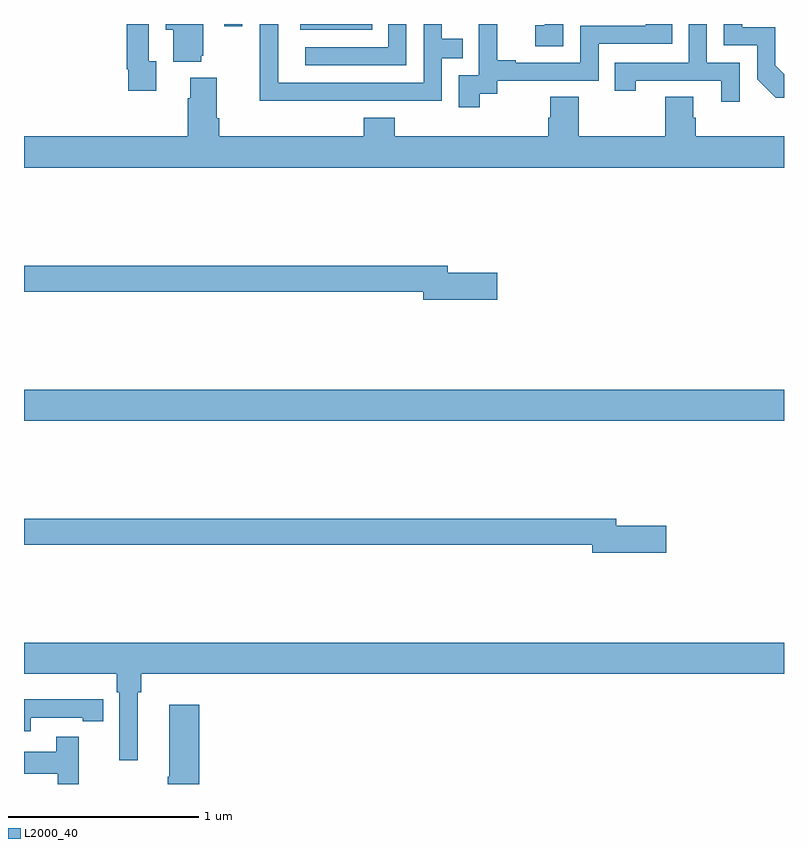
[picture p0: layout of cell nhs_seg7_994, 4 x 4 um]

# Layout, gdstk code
import gdstk
lib = gdstk.Library(unit=1e-6, precision=1e-09)
def R(c, l, rs):  # rectangles x0, y0, x1, y1
    for r in rs: c.add(gdstk.rectangle(r[:2], r[2:], *l))
def P(c, l, *ps):  # polygons
    for p in ps: c.add(gdstk.Polygon(p, *l))
L2000_40 = (2000, 40)

nhs_seg7_994 = lib.new_cell('nhs_seg7_994')
R(nhs_seg7_994, L2000_40, [(183,1037.912,187,1038.076), (184.454,1039.97,184.832,1040), (184.053,1039.989,184.149,1040)])
P(nhs_seg7_994, L2000_40, [(183.932,1039.833),(183.943,1039.833),(183.943,1040),(183.746,1040),(183.746,1039.97),(183.785,1039.97),(183.785,1039.802),(183.932,1039.802)],
  [(187,1039.736),(186.954,1039.782),(186.954,1039.983),(186.781,1039.983),(186.781,1040),(186.684,1040),(186.684,1039.887),(186.858,1039.887),(186.858,1039.71),(186.956,1039.613),(187,1039.613)],
  [(184.703,1039.596),(185.199,1039.596),(185.199,1039.821),(185.309,1039.821),(185.309,1039.922),(185.199,1039.922),(185.199,1040),(185.103,1040),(185.103,1039.692),(184.338,1039.692),(184.338,1040),(184.242,1040),(184.242,1039.901),(184.24,1039.901),(184.24,1039.595),(184.703,1039.595)],
  [(185.013,1040),(184.917,1040),(184.917,1039.878),(184.479,1039.878),(184.479,1039.782),(185.013,1039.782)],
  [(183.697,1039.805),(183.657,1039.805),(183.657,1040),(183.541,1040),(183.541,1039.762),(183.549,1039.762),(183.549,1039.65),(183.697,1039.65)],
  [(185.398,1039.632),(185.49,1039.632),(185.49,1039.701),(186.024,1039.701),(186.024,1039.896),(186.413,1039.896),(186.413,1040),(186.273,1040),(186.273,1039.992),(185.928,1039.992),(185.928,1039.797),(185.587,1039.797),(185.587,1039.81),(185.492,1039.81),(185.492,1040),(185.393,1040),(185.393,1039.961),(185.394,1039.961),(185.394,1039.731),(185.289,1039.731),(185.289,1039.563),(185.398,1039.563)],
  [(185.838,1040),(185.74,1040),(185.74,1039.993),(185.691,1039.993),(185.691,1039.884),(185.838,1039.884)],
  [(186.768,1039.797),(186.594,1039.797),(186.594,1040),(186.498,1040),(186.498,1039.797),(186.109,1039.797),(186.109,1039.65),(186.22,1039.65),(186.22,1039.701),(186.671,1039.701),(186.671,1039.59),(186.768,1039.59)],
  [(187,1039.408),(186.536,1039.408),(186.536,1039.506),(186.523,1039.506),(186.523,1039.616),(186.376,1039.616),(186.376,1039.408),(185.919,1039.408),(185.919,1039.616),(185.771,1039.616),(185.771,1039.506),(185.759,1039.506),(185.759,1039.408),(184.952,1039.408),(184.952,1039.507),(184.787,1039.507),(184.787,1039.408),(184.028,1039.408),(184.028,1039.504),(184.015,1039.504),(184.015,1039.717),(183.875,1039.717),(183.875,1039.61),(183.863,1039.61),(183.863,1039.408),(183,1039.408),(183,1039.244),(187,1039.244)],
  [(185.491,1038.692),(185.23,1038.692),(185.23,1038.728),(183,1038.728),(183,1038.592),(185.102,1038.592),(185.102,1038.55),(185.491,1038.55)],
  [(186.379,1037.36),(186.118,1037.36),(186.118,1037.396),(183,1037.396),(183,1037.26),(185.99,1037.26),(185.99,1037.218),(186.379,1037.218)],
  [(183.598,1036.484),(183.617,1036.484),(183.617,1036.58),(187,1036.58),(187,1036.744),(183,1036.744),(183,1036.58),(183.488,1036.58),(183.488,1036.484),(183.501,1036.484),(183.501,1036.125),(183.598,1036.125)],
  [(183.036,1036.35),(183.308,1036.35),(183.308,1036.33),(183.416,1036.33),(183.416,1036.446),(183.308,1036.446),(183.308,1036.447),(183,1036.447),(183,1036.278),(183.036,1036.278)],
  [(183.923,1036.417),(183.764,1036.417),(183.764,1036.037),(183.757,1036.037),(183.757,1036),(183.923,1036)],
  [(183.287,1036.249),(183.169,1036.249),(183.169,1036.17),(183,1036.17),(183,1036.054),(183.177,1036.054),(183.177,1036),(183.287,1036)])

lib.write_gds('nhs_seg7_994.gds')
